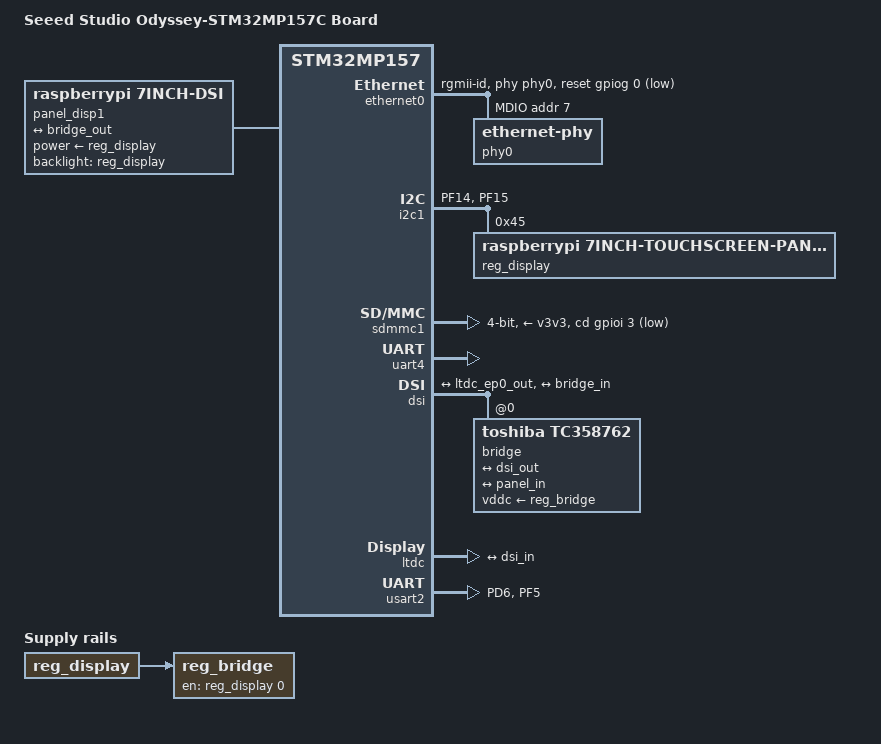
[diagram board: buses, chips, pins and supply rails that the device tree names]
// SPDX-License-Identifier: (GPL-2.0+ OR BSD-3-Clause)
/*
 * Copyright (C) 2020 Marcin Sloniewski <marcin.sloniewski@gmail.com>.
 */

/dts-v1/;

#include "stm32mp157c-odyssey-som.dtsi"
#include "stm32mp157c-odyssey-scmi.dtsi"

/ {
	model = "Seeed Studio Odyssey-STM32MP157C Board";
	compatible = "seeed,stm32mp157c-odyssey",
		     "seeed,stm32mp157c-odyssey-som", "st,stm32mp157";

	aliases {
		ethernet0 = &ethernet0;
		serial0 = &uart4;
        serial1 = &usart2;
	};

	chosen {
        #address-cells = <1>;
		#size-cells = <1>;
		ranges;
		stdout-path = "serial0:115200n8";

        framebuffer {
			compatible = "simple-framebuffer";
			clocks = <&rcc LTDC_PX>;
			status = "disabled";
		};
	};
};

&dcmi {
	pinctrl-names = "default", "sleep";
	pinctrl-0 = <&dcmi_pins_b>;
	pinctrl-1 = <&dcmi_sleep_pins_b>;
};

&ethernet0 {
	status = "okay";
	pinctrl-0 = <&ethernet0_rgmii_pins_a>;
	pinctrl-1 = <&ethernet0_rgmii_sleep_pins_a>;
	pinctrl-names = "default", "sleep";
	phy-mode = "rgmii-id";
	max-speed = <1000>;
	phy-handle = <&phy0>;
	st,eth-clk-sel;

	snps,reset-gpio = <&gpiog 0 GPIO_ACTIVE_LOW>;
	snps,reset-active-low;
	snps,reset-delays-us = <0 30000 50000>;

	mdio0 {
		#address-cells = <1>;
		#size-cells = <0>;
		compatible = "snps,dwmac-mdio";

		phy0: ethernet-phy@7 { /* KSZ9031RN */
			reg = <7>;
		};
	};
};

&pinctrl {
	u-boot,dm-pre-reloc;
	
	i2c1_pins_mx: i2c1_mx-0 {
		pins {
			pinmux = <STM32_PINMUX('F', 14, AF5)>, /* I2C1_SCL */
					 <STM32_PINMUX('F', 15, AF5)>; /* I2C1_SDA */
			bias-disable;
			drive-open-drain;
			slew-rate = <0>;
		};
	};

	i2c1_sleep_pins_mx: i2c1_sleep_mx-0 {
		pins {
			pinmux = <STM32_PINMUX('F', 14, ANALOG)>, /* I2C1_SCL */
					 <STM32_PINMUX('F', 15, ANALOG)>; /* I2C1_SDA */
		};
	};

	usart2_pins_mx: usart2_mx-0 {
		u-boot,dm-pre-reloc;
		pins1 {
			u-boot,dm-pre-reloc;
			pinmux = <STM32_PINMUX('D', 6, AF7)>; /* USART2_RX */
			bias-disable;
		};
		pins2 {
			u-boot,dm-pre-reloc;
			pinmux = <STM32_PINMUX('F', 5, AF7)>; /* USART2_TX */
			bias-disable;
			drive-push-pull;
			slew-rate = <0>;
		};
	};

	usart2_sleep_pins_mx: usart2_sleep_mx-0 {
//		u-boot,dm-pre-reloc;
		pins {
//			u-boot,dm-pre-reloc;
			pinmux = <STM32_PINMUX('D', 6, ANALOG)>, /* USART2_RX */
					 <STM32_PINMUX('F', 5, ANALOG)>; /* USART2_TX */
		};
	};

	/* USER CODE BEGIN pinctrl */
	/* USER CODE END pinctrl */
};

/*
&i2c1 {
	pinctrl-names = "default", "sleep";
	pinctrl-0 = <&i2c1_pins_a>;
	pinctrl-1 = <&i2c1_sleep_pins_a>;
	i2c-scl-rising-time-ns = <100>;
	i2c-scl-falling-time-ns = <7>;
	status = "okay";
	/delete-property/dmas;
	/delete-property/dma-names;
};
*/

&i2c1 {
	pinctrl-names = "default", "sleep";
	pinctrl-0 = <&i2c1_pins_mx>;
	pinctrl-1 = <&i2c1_sleep_pins_mx>;
	i2c-scl-rising-time-ns = <100>;
	i2c-scl-falling-time-ns = <7>;
	/delete-property/dmas;
	/delete-property/dma-names;

    #address-cells = <1>;
	#size-cells = <0>;
	status = "okay";

	reg_display: reg_display@45 {
		compatible = "raspberrypi,7inch-touchscreen-panel-regulator";
		reg = <0x45>;
		gpio-controller;
		#gpio-cells = <2>;
	};
};

&sdmmc1 {
	pinctrl-names = "default", "opendrain", "sleep";
	pinctrl-0 = <&sdmmc1_b4_pins_a>;
	pinctrl-1 = <&sdmmc1_b4_od_pins_a>;
	pinctrl-2 = <&sdmmc1_b4_sleep_pins_a>;
	cd-gpios = <&gpioi 3 (GPIO_ACTIVE_LOW | GPIO_PULL_UP)>;
	disable-wp;
	st,neg-edge;
	bus-width = <4>;
	vmmc-supply = <&v3v3>;
	status = "okay";
};

&uart4 {
	pinctrl-names = "default";
	pinctrl-0 = <&uart4_pins_a>;
	/delete-property/dmas;
	/delete-property/dma-names;
	status = "okay";
};

&dsi {
    #address-cells = <1>;
    #size-cells = <0>;
	status = "okay";
    ports{
    	#address-cells = <1>;
		#size-cells = <0>;
	    port@0 {
            reg = <0>;
            dsi_in: endpoint{
                remote-endpoint = <&ltdc_ep0_out>;
            };
        };
	    port@1 {
            reg = <1>;
		    dsi_out: endpoint {
			    remote-endpoint = <&bridge_in>;
		    };
	    };
    };
	bridge@0 {
		reg = <0>;
		compatible = "toshiba,tc358762";
		vddc-supply = <&reg_bridge>;
//		enable-gpios = <&gpioe 4 GPIO_ACTIVE_HIGH>;
		ports {
			#address-cells = <1>;
			#size-cells = <0>;

			port@0 {
				reg = <0>;
				bridge_in: endpoint {
					remote-endpoint = <&dsi_out>;
//                    data-lanes = <0 1>;
				};
			};

			port@1 {
				reg = <1>;
				bridge_out: endpoint {
					remote-endpoint = <&panel_in>;
				};
			};
		};
	};
};

&ltdc {
    status = "okay";

    port { 
        #address-cells = <1>;
        #size-cells = <0>;

//        ltdc_ep1_out: endpoint@1 {
//            reg = <1>;
        ltdc_ep0_out: endpoint@0 {
            reg = <0>;
            remote-endpoint = <&dsi_in>;
        };
    };
};

/ {
    panel_disp1: panel_disp1 {
	    compatible = "raspberrypi,7inch-dsi", "simple-panel";
	    backlight = <&reg_display>;
	    power-supply = <&reg_display>;

	    port {
		    panel_in: endpoint {
			    remote-endpoint = <&bridge_out>;
		    };
	    };
    };

	reg_bridge: reg_bridge {
		compatible = "regulator-fixed";
		regulator-name = "bridge_reg";
		gpio = <&reg_display 0 0>;
		vin-supply = <&reg_display>;
		enable-active-high;
	};
};

/*
/ {
    panel_disp1: panel_disp1 {
	    compatible = "raspberrypi,7inch-dsi";
//	    backlight = <&v3v3>;
	    power-supply = <&v3v3>;

	    port {
		    panel_in: endpoint {
			    remote-endpoint = <&bridge_out>;
		    };
	    };
    };
};
*/

&usart2 {
//	pinctrl-names = "default", "sleep";
    pinctrl-names = "default";
	pinctrl-0 = <&usart2_pins_mx>;
//	pinctrl-1 = <&usart2_sleep_pins_mx>;
	status = "okay";
};


